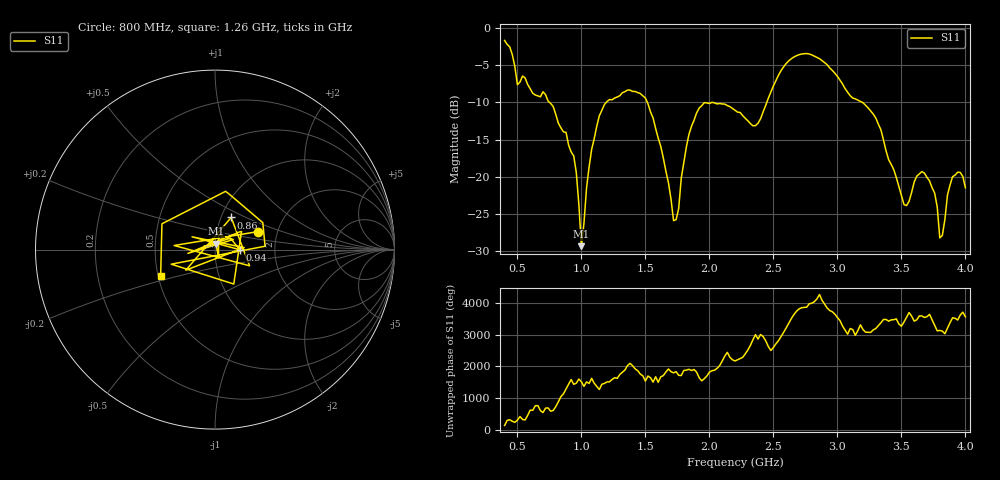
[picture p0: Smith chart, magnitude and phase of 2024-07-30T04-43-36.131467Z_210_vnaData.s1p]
!Created with skrf (http://scikit-rf.org).
# Hz S RI R 50.0
!freq ReS11 ImS11
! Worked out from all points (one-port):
!   181 points, 400 MHz to 4 GHz, reference 50 ohm
!   lowest |S11| = -29.3 dB at 1 GHz (marker M1), VSWR 1.07, Z = 50.4 + j3.42 ohm
!   |S11| at or under -10 dB: 750 MHz to 1.195 GHz (444.8 MHz wide, 45.7 % of centre); 1.515 GHz to 2.449 GHz (933.8 MHz wide, 47.1 % of centre); 3.193 GHz to end of sweep
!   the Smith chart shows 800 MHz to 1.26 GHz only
!   S11 on the Smith chart (normalised r, x): 800 MHz: 1.59, +0.34; 860 MHz: 1.12, +0.42; 940 MHz: 1.32, -0.00; 1.26 GHz: 0.51, -0.17
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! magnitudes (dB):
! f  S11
! 400 MHz  -1.7
! 500 MHz  -7.6
! 800 MHz  -11.6
! 860 MHz  -14.0
! 940 MHz  -17.2
! 1 GHz  -29.3
! 1.06 GHz  -18.7
! 1.12 GHz  -13.2
! 1.26 GHz  -9.4
! 1.3 GHz  -9.1
! 1.5 GHz  -9.4
! 1.62 GHz  -15.9
! 1.72 GHz  -25.9
! 1.76 GHz  -24.3
! 1.84 GHz  -14.3
! 1.92 GHz  -10.8
! 2.2 GHz  -11.1
! 2.36 GHz  -13.1
! 2.66 GHz  -3.9
! 3.1 GHz  -9.1
! 3.3 GHz  -12.1
! 3.52 GHz  -23.7
! 3.56 GHz  -23.3
! 3.68 GHz  -19.5
! 3.76 GHz  -22.2
! 3.8 GHz  -28.2
! 3.9 GHz  -20.0
! 4 GHz  -21.5
